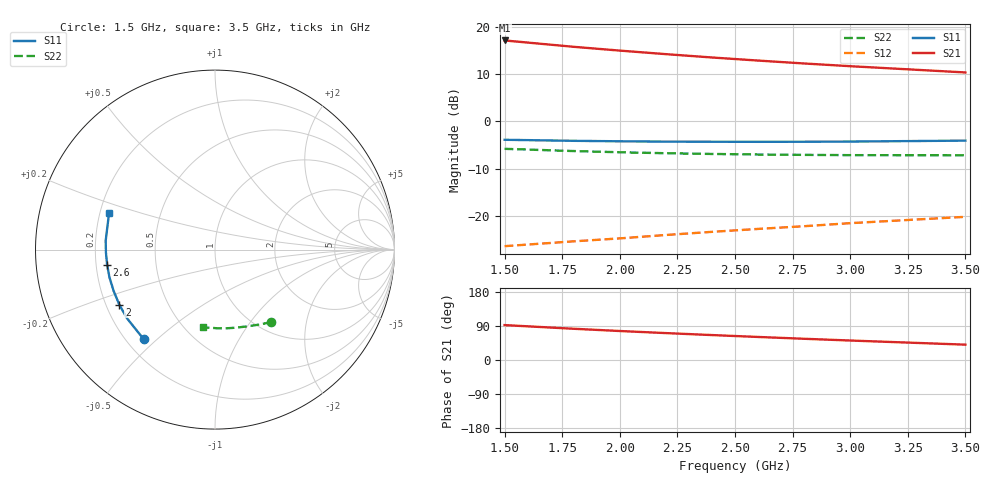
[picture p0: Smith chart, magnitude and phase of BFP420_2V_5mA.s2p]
! Infineon BFP420 S-parameters
! Bias: Vce = 2.0V, Ic = 5.0mA, Zo = 50 Ohm
# GHz S MA R 50
! Freq  S11_mag S11_ang  S21_mag S21_ang  S12_mag S12_ang  S22_mag S22_ang
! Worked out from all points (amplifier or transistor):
!   9 points, 1.5 GHz to 3.5 GHz, reference 50 ohm
!   highest |S21| = 17.1 dB at 1.5 GHz (marker M1)
!   |S21| within 3 dB of that: start of sweep to 2.231 GHz
!   unconditionally stable (mu >= 1): nowhere
!   at 1.8 GHz: K = 0.60, MSG = 20.5 dB, |S12| = -25.4 dB
!   at 2.4 GHz: K = 0.67, MSG = 18.4 dB, |S12| = -23.3 dB
!   at 3.5 GHz: K = 0.68, MSG = 15.2 dB, |S12| = -20.2 dB
!   lowest NFmin = 1.10 dB at 2.4 GHz
!   S11 on the Smith chart (normalised r, x): 1.5 GHz: 0.27, -0.45; 2 GHz: 0.25, -0.25; 2.6 GHz: 0.25, -0.06; 3.5 GHz: 0.24, +0.16
1.5  0.638 -128.5  7.142 92.1  0.048 52.3  0.512 -52.1
1.8  0.622 -142.0  6.12 82.4  0.054 53.8  0.485 -59.4
2  0.615 -150.1  5.58 76.5  0.058 54.2  0.471 -64.2
2.2  0.61 -157.8  5.12 71.0  0.063 54.0  0.46 -69.0
2.4  0.608 -165.2  4.72 65.8  0.068 53.4  0.452 -73.8
2.6  0.607 -172.1  4.38 60.8  0.073 52.4  0.446 -78.5
2.8  0.608 -178.6  4.08 56.0  0.078 51.1  0.442 -83.1
3  0.611 175.2  3.82 51.4  0.084 49.5  0.439 -87.7
3.5  0.625 160.7  3.28 40.5  0.098 44.6  0.438 -99.1
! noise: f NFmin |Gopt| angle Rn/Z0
2.4  1.1  0.42  145  0.18
